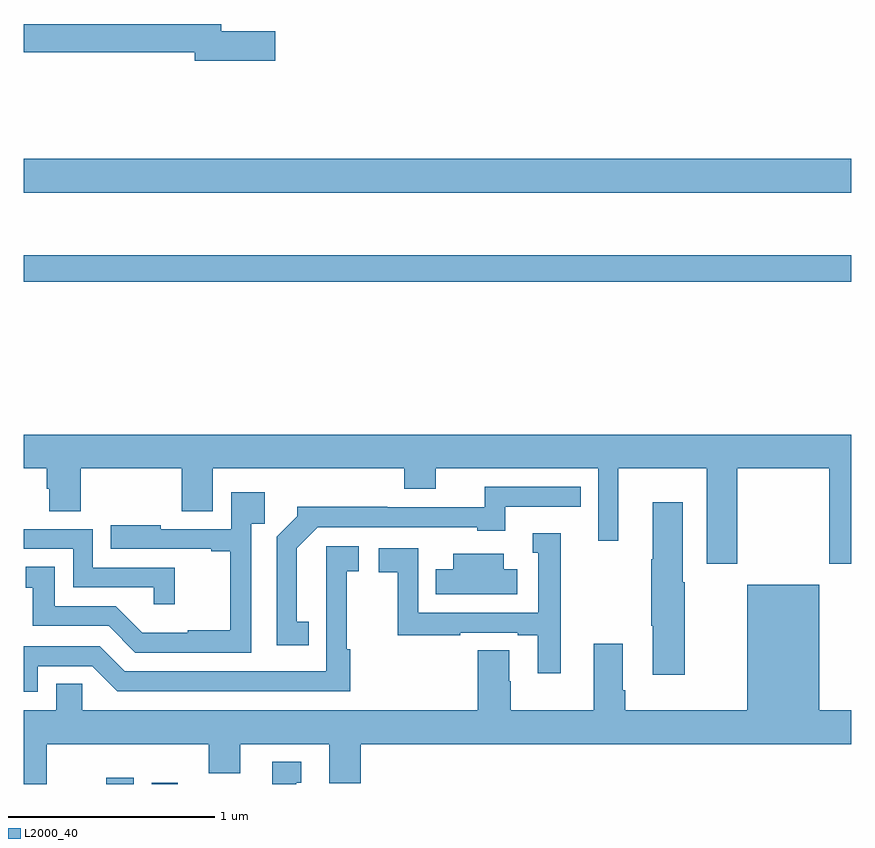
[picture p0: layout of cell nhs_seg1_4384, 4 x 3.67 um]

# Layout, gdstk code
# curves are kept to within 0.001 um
import gdstk
lib = gdstk.Library(unit=1e-6, precision=1e-09)
def R(c, l, rs):  # rectangles x0, y0, x1, y1
    for r in rs: c.add(gdstk.rectangle(r[:2], r[2:], *l))
def P(c, l, *ps):  # polygons
    for p in ps: c.add(gdstk.Polygon(p, *l))
L2000_40 = (2000, 40)

nhs_seg1_4384 = lib.new_cell('nhs_seg1_4384')
R(nhs_seg1_4384, L2000_40, [(349.4,558.199,349.531,558.229), (349.619,558.199,349.744,558.205), (349,560.626,353,560.755), (349,561.056,353,561.22)])
P(nhs_seg1_4384, L2000_40, [(350.215,561.836),(349.954,561.836),(349.954,561.872),(349,561.872),(349,561.736),(349.826,561.736),(349.826,561.694),(350.215,561.694)],
  [(352.449,559.724),(352.894,559.724),(352.894,559.263),(353,559.263),(353,559.888),(349,559.888),(349,559.724),(349.112,559.724),(349.112,559.626),(349.124,559.626),(349.124,559.516),(349.277,559.516),(349.277,559.724),(349.763,559.724),(349.763,559.516),(349.915,559.516),(349.915,559.724),(350.84,559.724),(350.84,559.625),(350.992,559.625),(350.992,559.724),(351.777,559.724),(351.777,559.374),(351.874,559.374),(351.874,559.724),(352.301,559.724),(352.301,559.263),(352.449,559.263)],
  [(350.378,558.983),(350.32,558.983),(350.32,559.339),(350.421,559.44),(351.192,559.44),(351.192,559.424),(351.328,559.424),(351.328,559.539),(351.692,559.539),(351.692,559.635),(351.229,559.635),(351.229,559.536),(350.756,559.536),(350.756,559.538),(350.322,559.538),(350.322,559.493),(350.223,559.394),(350.223,558.87),(350.378,558.87)],
  [(350.1,559.457),(350.165,559.457),(350.165,559.609),(350.004,559.609),(350.004,559.431),(349.663,559.431),(349.663,559.45),(349.42,559.45),(349.42,559.335),(349.907,559.335),(349.907,559.323),(349.999,559.323),(349.999,558.943),(349.793,558.943),(349.793,558.931),(349.574,558.931),(349.446,559.059),(349.15,559.059),(349.15,559.25),(349.01,559.25),(349.01,559.147),(349.043,559.147),(349.043,558.963),(349.41,558.963),(349.539,558.834),(350.1,558.834)],
  [(352.194,559.175),(352.186,559.175),(352.186,559.561),(352.04,559.561),(352.04,559.286),(352.033,559.286),(352.033,558.964),(352.04,558.964),(352.04,558.726),(352.194,558.726)],
  [(349.73,559.245),(349.335,559.245),(349.335,559.431),(349,559.431),(349,559.335),(349.239,559.335),(349.239,559.149),(349.629,559.149),(349.629,559.068),(349.73,559.068)],
  [(351.595,559.411),(351.461,559.411),(351.461,559.317),(351.486,559.317),(351.486,559.026),(350.907,559.026),(350.907,559.338),(350.715,559.338),(350.715,559.222),(350.809,559.222),(350.809,558.918),(351.11,558.918),(351.11,558.93),(351.389,558.93),(351.389,558.918),(351.485,558.918),(351.485,558.735),(351.595,558.735)],
  [(349.068,558.768),(349.332,558.768),(349.452,558.648),(350.579,558.648),(350.579,558.851),(350.562,558.851),(350.562,559.227),(350.62,559.227),(350.62,559.348),(350.462,559.348),(350.463,558.744),(349.488,558.744),(349.368,558.864),(349,558.864),(349,558.645),(349.068,558.645)],
  [(351.385,559.237),(351.319,559.237),(351.319,559.312),(351.077,559.312),(351.077,559.237),(350.992,559.237),(350.992,559.115),(351.385,559.115)],
  [(349.111,558.392),(349.895,558.392),(349.895,558.251),(350.047,558.251),(350.047,558.392),(350.477,558.392),(350.477,558.203),(350.63,558.203),(350.63,558.392),(353,558.392),(353,558.556),(352.846,558.556),(352.846,559.162),(352.496,559.162),(352.496,558.556),(351.908,558.556),(351.908,558.652),(351.895,558.652),(351.895,558.877),(351.755,558.877),(351.755,558.556),(351.354,558.556),(351.354,558.695),(351.346,558.695),(351.346,558.845),(351.194,558.845),(351.194,558.556),(349.284,558.556),(349.284,558.683),(349.157,558.683),(349.157,558.556),(349,558.556),(349,558.199),(349.111,558.199)],
  [(350.317,558.204),(350.341,558.204),(350.341,558.307),(350.201,558.307),(350.201,558.199),(350.317,558.199)])

lib.write_gds('nhs_seg1_4384.gds')
